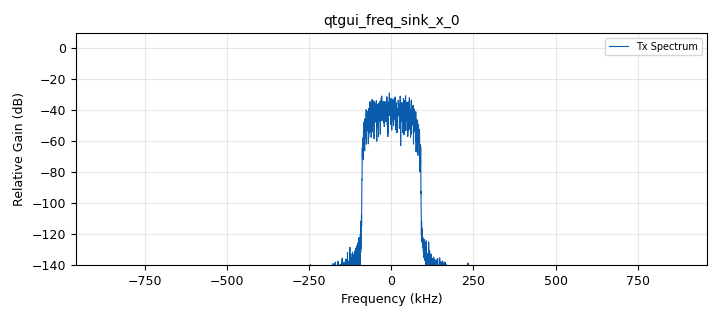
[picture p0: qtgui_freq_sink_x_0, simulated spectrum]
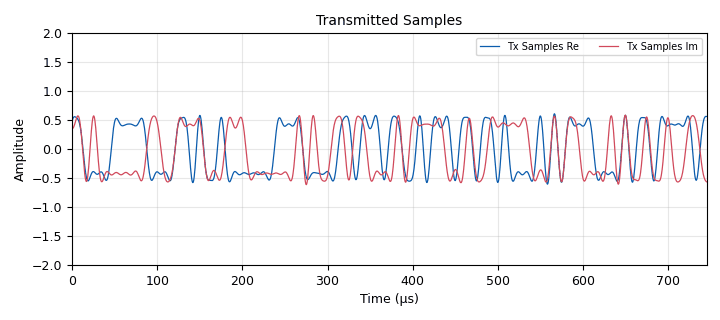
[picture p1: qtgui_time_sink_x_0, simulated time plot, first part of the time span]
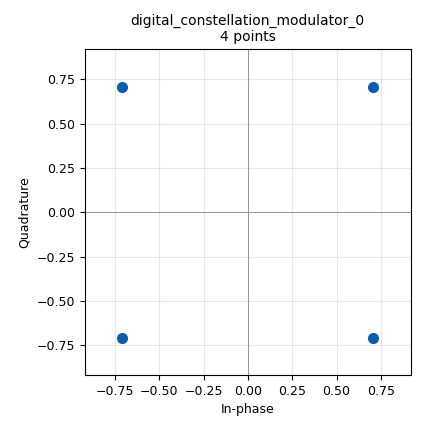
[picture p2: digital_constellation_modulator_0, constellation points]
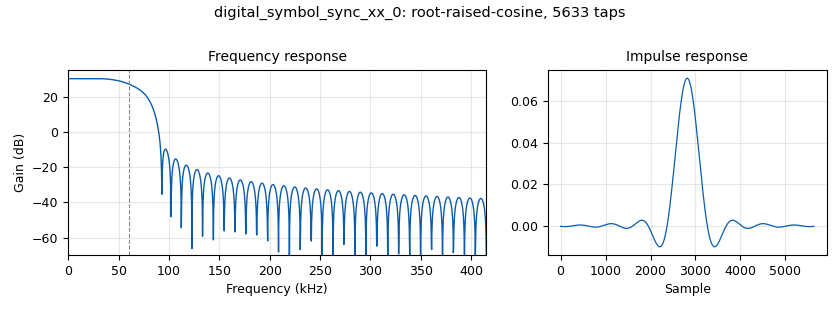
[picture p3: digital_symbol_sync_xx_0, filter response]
options:
  parameters:
    generate_options: qt_gui
    id: costas_loop_loopback_jupiter
    output_language: python
    title: costas_loop_loopback_jupiter
  states: {}

blocks:
- name: alpha
  id: variable
  parameters:
    value: '0.5'
  states: {}
- name: buff_size
  id: variable
  parameters:
    value: int(32768)
  states: {}
- name: constellation
  id: variable_constellation
  parameters:
    const_points: '[-1-1j, -1+1j, 1+1j, 1-1j]'
    dims: '1'
    normalization: digital.constellation.AMPLITUDE_NORMALIZATION
    precision: '8'
    rot_sym: '4'
    sym_map: '[0, 1, 2, 3]'
    type: calcdist
  states: {}
- name: costas_loop_bw
  id: variable_qtgui_range
  parameters:
    gui_hint: (4,0,1,2)
    label: Costas Loop Bw [cycles/sample]
    start: '0.001'
    step: '0.001'
    stop: '0.2'
    value: '0.03'
  states: {}
- name: gain_control_mode_rx0
  id: variable
  parameters:
    value: '''spi'''
  states: {}
- name: hardwaregain_rx0
  id: variable_qtgui_range
  parameters:
    gui_hint: (8,1,1,1)
    label: Rx Gain [dBfs]
    start: '0'
    step: '1'
    stop: '34'
    value: '15'
  states: {}
- name: hardwaregain_tx0
  id: variable_qtgui_range
  parameters:
    gui_hint: (8,0,1,1)
    label: Tx Attenuation [dBfs]
    start: '-41'
    step: '1'
    stop: '0'
    value: '0'
  states: {}
- name: interval_update
  id: variable
  parameters:
    value: int(0)
  states: {}
- name: jupiter_ip
  id: variable_config
  parameters:
    config_file: default
    option: key
    section: main
    type: string
    value: ip:jupiter.local
    writeback: None
  states: {}
- name: lo_offset
  id: variable
  parameters:
    value: int(0)
  states: {}
- name: nfilts
  id: variable
  parameters:
    value: '32'
  states: {}
- name: offset_rx
  id: variable_qtgui_range
  parameters:
    gui_hint: (1,0,1,2)
    start: '-2000000'
    step: '1'
    stop: '1000000'
    value: '-150000'
  states: {}
- name: offset_tx
  id: variable
  parameters:
    value: int(150000)
  states: {}
- name: phase_shift_after_costas_loop
  id: variable_qtgui_range
  parameters:
    gui_hint: (5,0,1,2)
    label: Ph Shift (after CL) [rad]
    start: '0'
    step: '0.1'
    stop: 2*math.pi
    value: '0'
  states: {}
- name: rrc_taps
  id: variable_rrc_filter_taps
  parameters:
    alpha: alpha
    gain: nfilts
    ntaps: 11*sps*nfilts
    samp_rate: nfilts*samp_rate
    sym_rate: samp_rate/sps
  states: {}
- name: rx_lo_freq
  id: variable
  parameters:
    value: int(2200000000)
  states: {}
- name: samp_rate
  id: variable
  parameters:
    value: '1920000'
  states: {}
- name: sps
  id: variable
  parameters:
    value: '16'
  states: {}
- name: tx_lo_freq
  id: variable
  parameters:
    value: int(2200000000 - lo_offset)
  states: {}
- name: analog_agc_xx_0
  id: analog_agc_xx
  parameters:
    gain: '1.0'
    max_gain: '65536'
    rate: '1e-4'
    reference: '1.0'
    type: complex
  states: {}
- name: analog_random_uniform_source_x_0
  id: analog_random_uniform_source_x
  parameters:
    maximum: '4'
    minimum: '0'
    seed: '0'
    type: byte
  states: {}
- name: analog_sig_source_x_0_0
  id: analog_sig_source_x
  parameters:
    amp: '1'
    freq: offset_tx
    offset: '0'
    phase: '0'
    samp_rate: samp_rate
    type: complex
    waveform: analog.GR_COS_WAVE
  states: {}
- name: analog_sig_source_x_0_0_0
  id: analog_sig_source_x
  parameters:
    amp: '1'
    freq: offset_rx
    offset: '0'
    phase: '0'
    samp_rate: samp_rate
    type: complex
    waveform: analog.GR_COS_WAVE
  states: {}
- name: blocks_complex_to_imag_0_4_0
  id: blocks_complex_to_imag
  parameters: {}
  states: {}
- name: blocks_complex_to_real_0_4_0
  id: blocks_complex_to_real
  parameters: {}
  states: {}
- name: blocks_float_to_complex_0
  id: blocks_float_to_complex
  parameters: {}
  states: {}
- name: blocks_float_to_short_0_0_4_0
  id: blocks_float_to_short
  parameters:
    scale: '32767'
  states: {}
- name: blocks_float_to_short_0_5_0
  id: blocks_float_to_short
  parameters:
    scale: '32767'
  states: {}
- name: blocks_multiply_const_vxx_0
  id: blocks_multiply_const_vxx
  parameters:
    const: '0.6'
    type: complex
  states: {}
- name: blocks_multiply_xx_0_0
  id: blocks_multiply_xx
  parameters:
    type: complex
  states: {}
- name: blocks_multiply_xx_0_0_0
  id: blocks_multiply_xx
  parameters:
    type: complex
  states: {}
- name: blocks_phase_shift_0
  id: blocks_phase_shift
  parameters:
    is_radians: 'True'
    shift: phase_shift_after_costas_loop
  states: {}
- name: blocks_short_to_float_0
  id: blocks_short_to_float
  parameters:
    scale: '32767'
  states: {}
- name: blocks_short_to_float_0_1
  id: blocks_short_to_float
  parameters:
    scale: '32767'
  states: {}
- name: blocks_skiphead_0
  id: blocks_skiphead
  parameters:
    comment: |-
      Skip one second of samples
      to allow AGC and FLL to lock
    num_items: int(samp_rate)
    type: complex
  states: {}
- name: blocks_unpacked_to_packed_xx_0
  id: blocks_unpacked_to_packed_xx
  parameters:
    bits_per_chunk: '2'
    endianness: gr.GR_MSB_FIRST
    type: byte
  states: {}
- name: blocks_vector_source_x_0
  id: blocks_vector_source_x
  parameters:
    repeat: 'True'
    type: byte
    vector: (2,2,3,1,3,1,0,2,0)
  states: {state: disabled}
- name: digital_constellation_modulator_0
  id: digital_constellation_modulator
  parameters:
    constellation: constellation
    differential: 'True'
    excess_bw: alpha
    samples_per_symbol: sps
  states: {}
- name: digital_costas_loop_cc_0
  id: digital_costas_loop_cc
  parameters:
    order: constellation.arity()
    w: 2*math.pi*costas_loop_bw
  states: {}
- name: digital_fll_band_edge_cc_0
  id: digital_fll_band_edge_cc
  parameters:
    filter_size: sps*2+1
    rolloff: alpha
    samps_per_sym: sps
    type: cc
    w: 2*math.pi/sps/100
  states: {}
- name: digital_symbol_sync_xx_0
  id: digital_symbol_sync_xx
  parameters:
    damping: '1'
    loop_bw: '0.045'
    max_dev: '1'
    nfilters: nfilts
    osps: '1'
    pfb_mf_taps: rrc_taps
    resamp_type: digital.IR_PFB_MF
    sps: sps
    ted_gain: '1.0'
    ted_type: digital.TED_SIGNAL_TIMES_SLOPE_ML
    type: cc
  states: {}
- name: iio_attr_sink_0
  id: iio_attr_sink
  parameters:
    attr_type: '0'
    channel: voltage0
    device: adrv9002-phy
    output: 'False'
    uri: jupiter_ip
  states: {}
- name: iio_attr_sink_0_0
  id: iio_attr_sink
  parameters:
    attr_type: '0'
    channel: voltage1
    device: adrv9002-phy
    output: 'False'
    uri: jupiter_ip
  states: {}
- name: iio_attr_sink_0_0_0
  id: iio_attr_sink
  parameters:
    attr_type: '0'
    channel: voltage1
    device: adrv9002-phy
    output: 'True'
    uri: jupiter_ip
  states: {}
- name: iio_attr_sink_0_1
  id: iio_attr_sink
  parameters:
    attr_type: '0'
    channel: voltage0
    device: adrv9002-phy
    output: 'True'
    uri: jupiter_ip
  states: {}
- name: iio_attr_sink_0_1_0
  id: iio_attr_sink
  parameters:
    attr_type: '0'
    channel: altvoltage0
    device: adrv9002-phy
    output: 'True'
    uri: jupiter_ip
  states: {}
- name: iio_attr_sink_0_1_0_0
  id: iio_attr_sink
  parameters:
    attr_type: '0'
    channel: altvoltage2
    device: adrv9002-phy
    output: 'True'
    uri: jupiter_ip
  states: {}
- name: iio_attr_sink_0_1_0_1
  id: iio_attr_sink
  parameters:
    attr_type: '0'
    channel: voltage0
    device: adrv9002-phy
    output: 'False'
    uri: jupiter_ip
  states: {}
- name: iio_attr_updater_0
  id: iio_attr_updater
  parameters:
    attr: hardwaregain
    interval: interval_update
    value: str(hardwaregain_rx0)
  states: {}
- name: iio_attr_updater_0_0
  id: iio_attr_updater
  parameters:
    attr: hardwaregain
    interval: interval_update
    value: str(0)
  states: {}
- name: iio_attr_updater_0_0_0
  id: iio_attr_updater
  parameters:
    attr: hardwaregain
    interval: interval_update
    value: str(-40)
  states: {}
- name: iio_attr_updater_0_1
  id: iio_attr_updater
  parameters:
    attr: hardwaregain
    interval: interval_update
    value: str(hardwaregain_tx0)
  states: {}
- name: iio_attr_updater_0_1_0
  id: iio_attr_updater
  parameters:
    attr: frequency
    interval: interval_update
    value: str(rx_lo_freq)
  states: {}
- name: iio_attr_updater_0_1_0_0
  id: iio_attr_updater
  parameters:
    attr: frequency
    interval: interval_update
    value: str(tx_lo_freq)
  states: {}
- name: iio_attr_updater_0_1_0_1
  id: iio_attr_updater
  parameters:
    attr: gain_control_mode
    interval: interval_update
    value: gain_control_mode_rx0
  states: {}
- name: iio_device_sink_0_1
  id: iio_device_sink
  parameters:
    buffer_size: buff_size
    channels: '[''voltage0'',''voltage1'']'
    cyclic: 'True'
    device: axi-adrv9002-tx-lpc
    device_phy: adrv9002-phy
    interpolation: '1'
    params: '[]'
    uri: jupiter_ip
  states: {}
- name: iio_device_source_0
  id: iio_device_source
  parameters:
    buffer_size: buff_size
    channels: '[''voltage0_i'',''voltage0_q'']'
    decimation: '1'
    device: axi-adrv9002-rx-lpc
    device_phy: adrv9002-phy
    params: '[]'
    uri: jupiter_ip
  states: {}
- name: import_0
  id: import
  parameters:
    imports: import math
  states: {}
- name: qtgui_const_sink_x_0_0
  id: qtgui_const_sink_x
  parameters:
    grid: 'True'
    gui_hint: (3,0,1,1)
    label1: Rx Constellation before CL
    label2: Rx Constellation after CL
    name: Received Constellation
    nconnections: '2'
    size: int(1024)
    tr_level: '0.3'
    type: complex
  states: {}
- name: qtgui_eye_sink_x_0_0
  id: qtgui_eye_sink_x
  parameters:
    grid: 'True'
    gui_hint: (3,1,1,1)
    label1: Rx Re (After Costas Loop)
    label2: Rx Im (After Costas Loop)
    samp_per_symbol: '1'
    size: '100'
    srate: samp_rate
    type: complex
    ymax: '2'
    ymin: '-2'
  states: {}
- name: qtgui_freq_sink_x_0
  id: qtgui_freq_sink_x
  parameters:
    bw: samp_rate
    fc: '0'
    fftsize: '8192'
    grid: 'True'
    gui_hint: (0,1,1,1)
    label1: Tx Spectrum
    tr_level: '-40'
    tr_mode: qtgui.TRIG_MODE_NORM
    type: complex
    update_time: '1'
  states: {}
- name: qtgui_freq_sink_x_0_0_0
  id: qtgui_freq_sink_x
  parameters:
    bw: samp_rate
    fc: '0'
    fftsize: '8192'
    grid: 'True'
    gui_hint: (2,1,1,1)
    label1: Rx Spectrum
    label2: Rx Spectrum + Freq Offset
    label3: Rx Spectrum + Freq Offset + FLL
    name: '"Received spectrum"'
    nconnections: '3'
    tr_level: '-60'
    tr_mode: qtgui.TRIG_MODE_NORM
    type: complex
  states: {}
- name: qtgui_time_sink_x_0
  id: qtgui_time_sink_x
  parameters:
    grid: 'True'
    gui_hint: (0,0,1,1)
    label1: Tx Samples Re
    label2: Tx Samples Im
    name: Transmitted Samples
    size: 1024*3
    srate: samp_rate
    tr_level: '0.5'
    tr_mode: qtgui.TRIG_MODE_NORM
    type: complex
    ymax: '2'
    ymin: '-2'
  states: {}
- name: qtgui_time_sink_x_1
  id: qtgui_time_sink_x
  parameters:
    color1: red
    color2: blue
    gui_hint: (6,0,1,2)
    label1: CL Estimated Frequency Correction [rad/sample]
    label2: CL Error signal
    name: CL Error Signal and Frequency Correction signal
    nconnections: '2'
    size: '1024'
    srate: samp_rate
    type: float
    ymax: '0.1'
    ymin: '-0.1'
  states: {}
- name: qtgui_time_sink_x_1_0
  id: qtgui_time_sink_x
  parameters:
    grid: 'True'
    gui_hint: (2,0,1,1)
    label1: Rx Re
    label2: Rx Im
    name: '"Received Samples (After Costas Loop)"'
    size: '200'
    srate: samp_rate
    tr_level: '0.1'
    type: complex
    ymax: '2'
    ymin: '-2'
  states: {}
- name: qtgui_time_sink_x_2
  id: qtgui_time_sink_x
  parameters:
    gui_hint: (7,0,1,2)
    label1: CL Estimated Phase Error
    name: CL Phase Correction Signal [rad]
    size: 1024*10
    srate: samp_rate
    type: float
    ymax: '10'
    ymin: '-10'
  states: {}

connections:
- [analog_agc_xx_0, '0', digital_fll_band_edge_cc_0, '0']
- [analog_agc_xx_0, '0', qtgui_freq_sink_x_0_0_0, '1']
- [analog_random_uniform_source_x_0, '0', blocks_unpacked_to_packed_xx_0, '0']
- [analog_sig_source_x_0_0, '0', blocks_multiply_xx_0_0, '1']
- [analog_sig_source_x_0_0_0, '0', blocks_multiply_xx_0_0_0, '1']
- [blocks_complex_to_imag_0_4_0, '0', blocks_float_to_short_0_0_4_0, '0']
- [blocks_complex_to_real_0_4_0, '0', blocks_float_to_short_0_5_0, '0']
- [blocks_float_to_complex_0, '0', blocks_multiply_xx_0_0_0, '0']
- [blocks_float_to_complex_0, '0', qtgui_freq_sink_x_0_0_0, '0']
- [blocks_float_to_short_0_0_4_0, '0', iio_device_sink_0_1, '1']
- [blocks_float_to_short_0_5_0, '0', iio_device_sink_0_1, '0']
- [blocks_multiply_const_vxx_0, '0', blocks_multiply_xx_0_0, '0']
- [blocks_multiply_const_vxx_0, '0', qtgui_freq_sink_x_0, '0']
- [blocks_multiply_const_vxx_0, '0', qtgui_time_sink_x_0, '0']
- [blocks_multiply_xx_0_0, '0', blocks_complex_to_imag_0_4_0, '0']
- [blocks_multiply_xx_0_0, '0', blocks_complex_to_real_0_4_0, '0']
- [blocks_multiply_xx_0_0_0, '0', analog_agc_xx_0, '0']
- [blocks_phase_shift_0, '0', qtgui_const_sink_x_0_0, '1']
- [blocks_short_to_float_0, '0', blocks_float_to_complex_0, '0']
- [blocks_short_to_float_0_1, '0', blocks_float_to_complex_0, '1']
- [blocks_skiphead_0, '0', digital_symbol_sync_xx_0, '0']
- [blocks_unpacked_to_packed_xx_0, '0', digital_constellation_modulator_0, '0']
- [blocks_vector_source_x_0, '0', blocks_unpacked_to_packed_xx_0, '0']
- [digital_constellation_modulator_0, '0', blocks_multiply_const_vxx_0, '0']
- [digital_costas_loop_cc_0, '0', blocks_phase_shift_0, '0']
- [digital_costas_loop_cc_0, '0', qtgui_eye_sink_x_0_0, '0']
- [digital_costas_loop_cc_0, '0', qtgui_time_sink_x_1_0, '0']
- [digital_costas_loop_cc_0, '1', qtgui_time_sink_x_1, '0']
- [digital_costas_loop_cc_0, '2', qtgui_time_sink_x_2, '0']
- [digital_costas_loop_cc_0, '3', qtgui_time_sink_x_1, '1']
- [digital_fll_band_edge_cc_0, '0', blocks_skiphead_0, '0']
- [digital_fll_band_edge_cc_0, '0', qtgui_freq_sink_x_0_0_0, '2']
- [digital_symbol_sync_xx_0, '0', digital_costas_loop_cc_0, '0']
- [digital_symbol_sync_xx_0, '0', qtgui_const_sink_x_0_0, '0']
- [iio_attr_updater_0, out, iio_attr_sink_0, attr]
- [iio_attr_updater_0_0, out, iio_attr_sink_0_0, attr]
- [iio_attr_updater_0_0_0, out, iio_attr_sink_0_0_0, attr]
- [iio_attr_updater_0_1, out, iio_attr_sink_0_1, attr]
- [iio_attr_updater_0_1_0, out, iio_attr_sink_0_1_0, attr]
- [iio_attr_updater_0_1_0_0, out, iio_attr_sink_0_1_0_0, attr]
- [iio_attr_updater_0_1_0_1, out, iio_attr_sink_0_1_0_1, attr]
- [iio_device_source_0, '0', blocks_short_to_float_0, '0']
- [iio_device_source_0, '1', blocks_short_to_float_0_1, '0']

metadata:
  file_format: 1
  grc_version: v3.10.11.0-1-gee27d6f3
